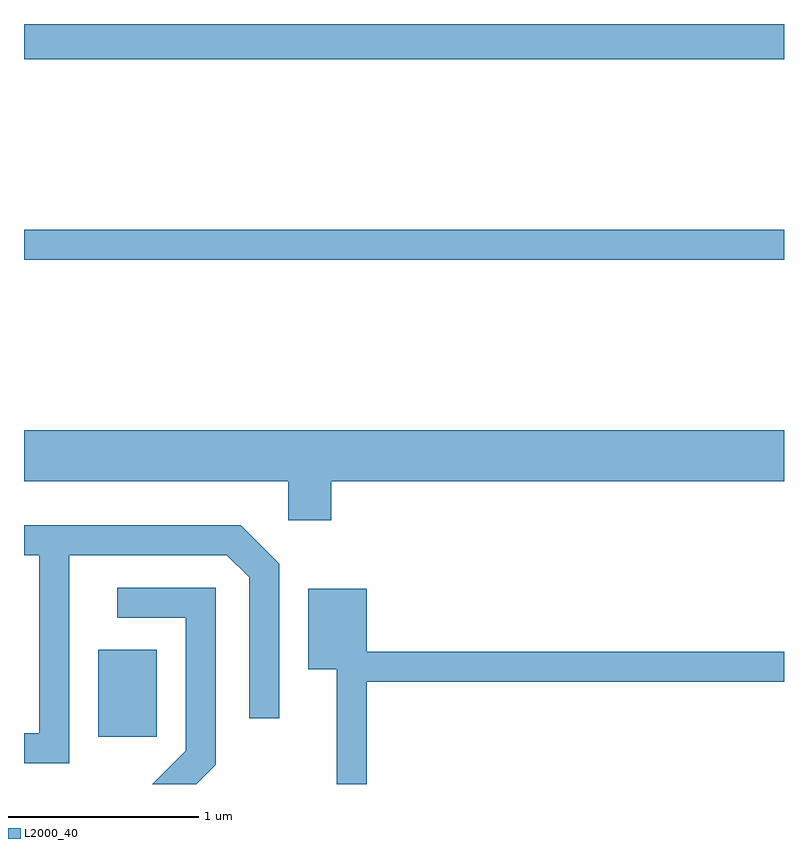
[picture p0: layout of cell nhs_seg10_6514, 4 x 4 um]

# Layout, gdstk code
import gdstk
lib = gdstk.Library(unit=1e-6, precision=1e-09)
def R(c, l, rs):  # rectangles x0, y0, x1, y1
    for r in rs: c.add(gdstk.rectangle(r[:2], r[2:], *l))
def P(c, l, *ps):  # polygons
    for p in ps: c.add(gdstk.Polygon(p, *l))
L2000_40 = (2000, 40)

nhs_seg10_6514 = lib.new_cell('nhs_seg10_6514')
R(nhs_seg10_6514, L2000_40, [(378.001,2134.771,378.309,2135.229), (377.611,2137.281,381.611,2137.439), (377.611,2138.336,381.611,2138.522)])
P(nhs_seg10_6514, L2000_40, [(379.229,2136.116),(381.611,2136.116),(381.611,2136.384),(377.611,2136.384),(377.611,2136.116),(379.001,2136.116),(379.001,2135.911),(379.229,2135.911)],
  [(377.849,2135.726),(378.679,2135.726),(378.796,2135.609),(378.796,2134.868),(378.954,2134.868),(378.954,2135.682),(378.752,2135.884),(377.613,2135.884),(377.613,2135.726),(377.691,2135.726),(377.691,2134.789),(377.611,2134.789),(377.611,2134.631),(377.849,2134.631)],
  [(378.619,2134.624),(378.619,2135.554),(378.103,2135.554),(378.103,2135.396),(378.461,2135.396),(378.461,2134.697),(378.287,2134.522),(378.517,2134.522)],
  [(379.414,2135.061),(381.611,2135.061),(381.611,2135.219),(379.414,2135.219),(379.414,2135.549),(379.106,2135.549),(379.106,2135.126),(379.256,2135.126),(379.256,2134.522),(379.414,2134.522)])

lib.write_gds('nhs_seg10_6514.gds')
